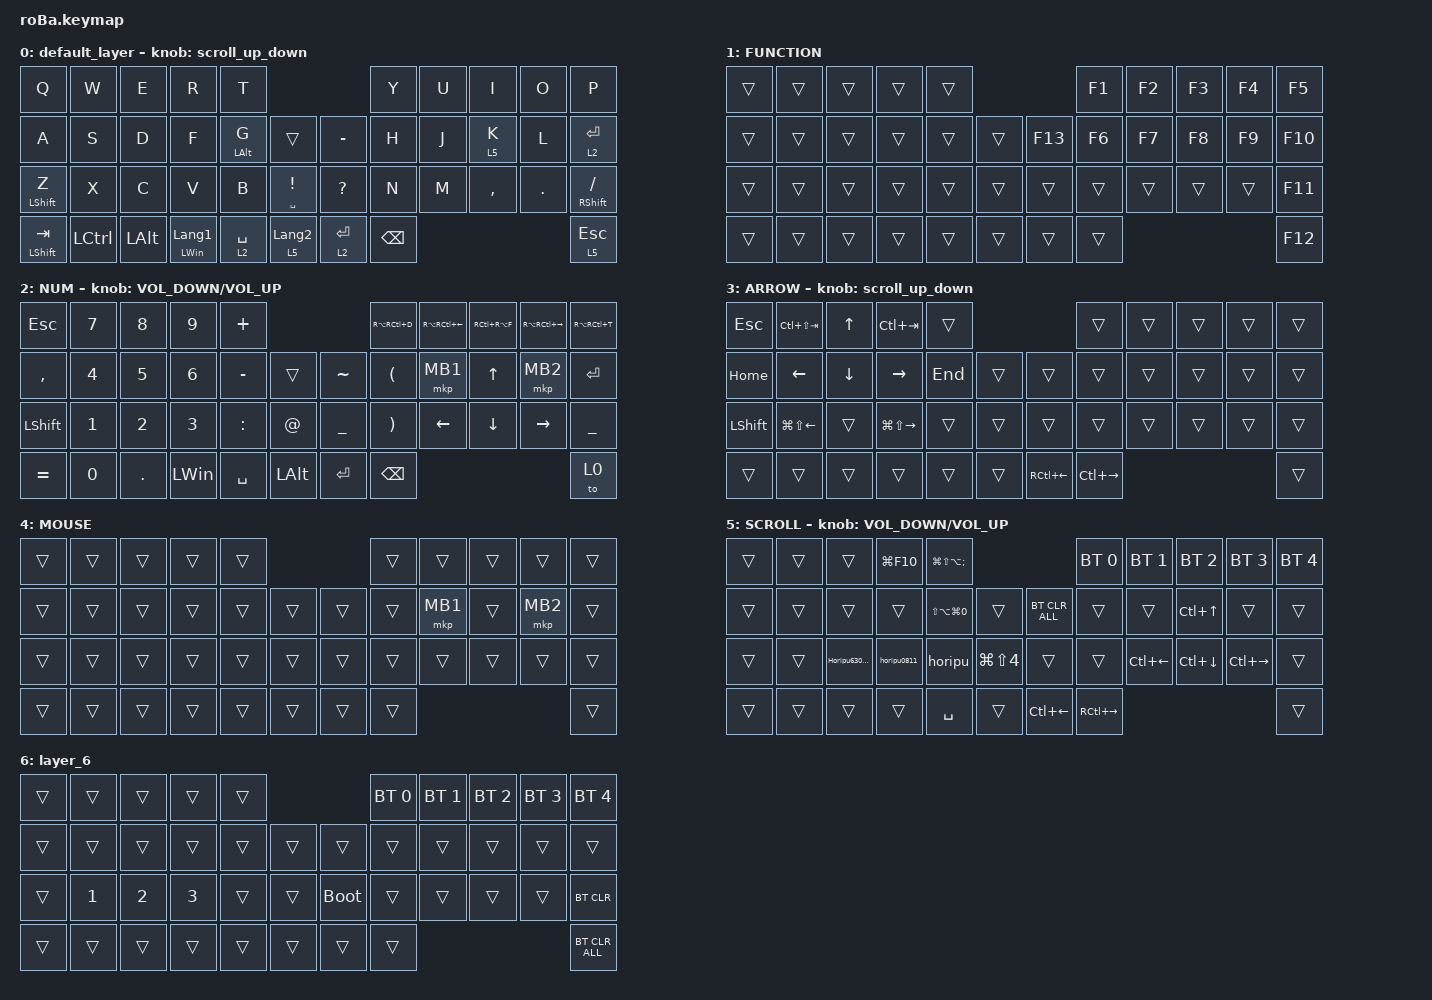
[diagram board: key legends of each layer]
#include <behaviors.dtsi>
#include <dt-bindings/zmk/bt.h>
#include <dt-bindings/zmk/keys.h>
#include <dt-bindings/zmk/pointing.h>

#define ZMK_POINTING_DEFAULT_SCRL_VAL 100
#define MOUSE 4
#define SCROLL 5
#define NUM 2

&mt {
    flavor = "balanced";
    quick-tap-ms = <0>;
};

/ {
    combos {
        compatible = "zmk,combos";

        tab {
            bindings = <&kp TAB>;
            key-positions = <11 10>;
        };

        double_quotation {
            bindings = <&kp DOUBLE_QUOTES>;
            key-positions = <20 21>;
        };

        eq {
            bindings = <&kp EQUAL>;
            key-positions = <24 25>;
        };

        conma {
            bindings = <&kp COMMA>;
            key-positions = <19 20>;
        };
    };

    macros {
        to_layer_0: to_layer_0 {
            compatible = "zmk,behavior-macro-one-param";
            #binding-cells = <1>;
            bindings = <&to 0 &macro_param_1to1 &kp MACRO_PLACEHOLDER>;
            label = "TO_LAYER_0";
        };

        horipu: horipu {
            compatible = "zmk,behavior-macro";
            #binding-cells = <0>;
            bindings = <&kp H &kp O &kp R &kp I &kp P &kp U &kp RET>;
            label = "HORIPU";
        };

        horipu0811: horipu0811 {
            compatible = "zmk,behavior-macro";
            #binding-cells = <0>;
            bindings = <&kp LS(H) &kp O &kp R &kp I &kp P &kp U &kp N0 &kp N8 &kp N1 &kp N1>;
            label = "HORIPU0811";
        };

        Horipu630811: Horipu630811 {
            compatible = "zmk,behavior-macro";
            #binding-cells = <0>;
            bindings = <&kp LS(H) &kp O &kp R &kp I &kp P &kp U &kp N6 &kp N3 &kp N0 &kp N8 &kp N1 &kp N1>;
            label = "HORIPU630811";
        };
    };

    behaviors {
        lt_to_layer_0: lt_to_layer_0 {
            compatible = "zmk,behavior-hold-tap";
            label = "LAYER_TAP_TO_0";
            bindings = <&mo>, <&to_layer_0>;

            #binding-cells = <2>;
            tapping-term-ms = <200>;
        };

        scroll_up_down: behavior_sensor_rotate_mouse_wheel_up_down {
            compatible = "zmk,behavior-sensor-rotate";
            #sensor-binding-cells = <0>;
            bindings = <&msc SCRL_UP>, <&msc SCRL_DOWN>;

            // 追加: スクロールのタップ時間を設定 (20ms)

            tap-ms = <30>;
            label = "0";
        };
    };

    keymap {
        compatible = "zmk,keymap";

        default_layer {
            bindings = <
&kp Q               &kp W             &kp E         &kp R                    &kp T                                                    &kp Y          &kp U  &kp I      &kp O    &kp P
&kp A               &kp S             &kp D         &kp F                    &mt LEFT_ALT G  &trans                     &kp MINUS     &kp H          &kp J  &lt 5 K    &kp L    &lt 2 ENTER
&mt LEFT_SHIFT Z    &kp X             &kp C         &kp V                    &kp B           &mt SPACE EXCLAMATION      &kp QUESTION  &kp N          &kp M  &kp COMMA  &kp DOT  &mt RIGHT_SHIFT SLASH
&mt LEFT_SHIFT TAB  &kp LEFT_CONTROL  &kp LEFT_ALT  &mt LEFT_WIN LANGUAGE_1  &lt 2 SPACE     &lt 5 LANGUAGE_2           &lt 2 ENTER   &kp BACKSPACE                             &lt 5 ESC
            >;

            sensor-bindings = <&scroll_up_down>;
        };

        FUNCTION {
            bindings = <
&trans  &trans  &trans  &trans  &trans                       &kp F1  &kp F2  &kp F3  &kp F4  &kp F5
&trans  &trans  &trans  &trans  &trans  &trans      &kp F13  &kp F6  &kp F7  &kp F8  &kp F9  &kp F10
&trans  &trans  &trans  &trans  &trans  &trans      &trans   &trans  &trans  &trans  &trans  &kp F11
&trans  &trans  &trans  &trans  &trans  &trans      &trans   &trans                          &kp F12
            >;
        };

        NUM {
            bindings = <
&kp ESC         &kp N7        &kp N8        &kp N9        &kp PLUS                                &kp RA(RC(D))          &kp RA(RC(LEFT_ARROW))  &kp RC(RA(F))   &kp RA(RC(RIGHT_ARROW))  &kp RA(RC(T))
&kp COMMA       &kp NUMBER_4  &kp N5        &kp NUMBER_6  &kp MINUS  &trans            &kp TILDE  &kp LEFT_PARENTHESIS   &mkp MB1                &kp UP_ARROW    &mkp MB2                 &kp ENTER
&kp LEFT_SHIFT  &kp NUMBER_1  &kp NUMBER_2  &kp NUMBER_3  &kp COLON  &kp AT            &kp UNDER  &kp RIGHT_PARENTHESIS  &kp LEFT_ARROW          &kp DOWN_ARROW  &kp RIGHT_ARROW          &kp UNDER
&kp EQUAL       &kp N0        &kp PERIOD    &kp LEFT_WIN  &kp SPACE  &kp LEFT_ALT      &kp ENTER  &kp BACKSPACE                                                                           &to 0
            >;

            sensor-bindings = <&inc_dec_kp C_VOLUME_DOWN C_VOLUME_UP>;
        };

        ARROW {
            bindings = <
&kp ESCAPE      &kp LC(LS(TAB))         &kp UP_ARROW    &kp LC(TAB)              &trans                                   &trans               &trans  &trans  &trans  &trans
&kp HOME        &kp LEFT_ARROW          &kp DOWN_ARROW  &kp RIGHT_ARROW          &kp END  &trans      &trans              &trans               &trans  &trans  &trans  &trans
&kp LEFT_SHIFT  &kp LG(LS(LEFT_ARROW))  &trans          &kp LG(LS(RIGHT_ARROW))  &trans   &trans      &trans              &trans               &trans  &trans  &trans  &trans
&trans          &trans                  &trans          &trans                   &trans   &trans      &kp RC(LEFT_ARROW)  &kp LC(RIGHT_ARROW)                          &trans
            >;

            sensor-bindings = <&scroll_up_down>;
        };

        MOUSE {
            bindings = <
&trans  &trans  &trans  &trans  &trans                      &trans  &trans    &trans  &trans    &trans
&trans  &trans  &trans  &trans  &trans  &trans      &trans  &trans  &mkp MB1  &trans  &mkp MB2  &trans
&trans  &trans  &trans  &trans  &trans  &trans      &trans  &trans  &trans    &trans  &trans    &trans
&trans  &trans  &trans  &trans  &trans  &trans      &trans  &trans                              &trans
            >;
        };

        SCROLL {
            bindings = <
&trans  &trans  &trans         &kp LG(F10)  &kp LG(LS(LA(SEMICOLON)))                                                &bt BT_SEL 0         &bt BT_SEL 1        &bt BT_SEL 2        &bt BT_SEL 3         &bt BT_SEL 4
&trans  &trans  &trans         &trans       &kp LS(LA(LG(N0)))         &trans                    &bt BT_CLR_ALL      &trans               &trans              &kp LC(UP_ARROW)    &trans               &trans
&trans  &trans  &Horipu630811  &horipu0811  &horipu                    &kp LG(LS(NUMBER_4))      &trans              &trans               &kp LC(LEFT_ARROW)  &kp LC(DOWN_ARROW)  &kp LC(RIGHT_ARROW)  &trans
&trans  &trans  &trans         &trans       &kp SPACE                  &trans                    &kp LC(LEFT_ARROW)  &kp RC(RIGHT_ARROW)                                                               &trans
            >;

            sensor-bindings = <&inc_dec_kp C_VOLUME_DOWN C_VOL_UP>;
        };

        layer_6 {
            bindings = <
&trans  &trans        &trans        &trans        &trans                           &bt BT_SEL 0  &bt BT_SEL 1  &bt BT_SEL 2  &bt BT_SEL 3  &bt BT_SEL 4
&trans  &trans        &trans        &trans        &trans  &trans      &trans       &trans        &trans        &trans        &trans        &trans
&trans  &kp NUMBER_1  &kp NUMBER_2  &kp NUMBER_3  &trans  &trans      &bootloader  &trans        &trans        &trans        &trans        &bt BT_CLR
&trans  &trans        &trans        &trans        &trans  &trans      &trans       &trans                                                  &bt BT_CLR_ALL
            >;
        };
    };
};
